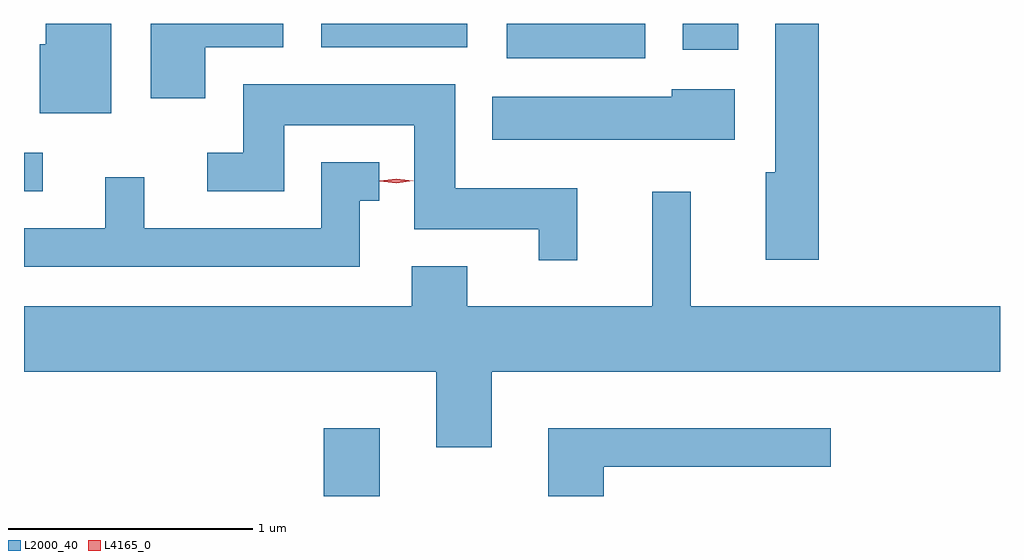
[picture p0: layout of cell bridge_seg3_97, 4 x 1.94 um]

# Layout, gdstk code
import gdstk
lib = gdstk.Library(unit=1e-6, precision=1e-09)
def R(c, l, rs):  # rectangles x0, y0, x1, y1
    for r in rs: c.add(gdstk.rectangle(r[:2], r[2:], *l))
def P(c, l, *ps):  # polygons
    for p in ps: c.add(gdstk.Polygon(p, *l))
L2000_40 = (2000, 40)
L4165_0 = (4165, 0)

bridge_seg3_97 = lib.new_cell('bridge_seg3_97')
R(bridge_seg3_97, L2000_40, [(982.701,1252.046,982.929,1252.324), (981.472,1253.296,981.548,1253.454), (983.451,1253.841,984.019,1253.982), (984.171,1253.876,984.399,1253.982), (982.691,1253.886,983.289,1253.982)])
P(bridge_seg3_97, L2000_40, [(984.729,1253.982),(984.551,1253.982),(984.551,1253.374),(984.511,1253.374),(984.511,1253.016),(984.729,1253.016)],
  [(982.214,1253.886),(982.534,1253.886),(982.534,1253.982),(981.991,1253.982),(981.991,1253.676),(982.214,1253.676)],
  [(981.829,1253.982),(981.561,1253.982),(981.561,1253.899),(981.536,1253.899),(981.536,1253.616),(981.829,1253.616)],
  [(983.739,1253.309),(983.239,1253.309),(983.239,1253.734),(982.371,1253.734),(982.371,1253.454),(982.223,1253.454),(982.223,1253.296),(982.539,1253.296),(982.539,1253.566),(983.071,1253.566),(983.071,1253.141),(983.581,1253.141),(983.581,1253.013),(983.739,1253.013)],
  [(984.384,1253.714),(984.126,1253.714),(984.126,1253.684),(983.391,1253.684),(983.391,1253.506),(984.384,1253.506)],
  [(982.849,1253.256),(982.928,1253.256),(982.928,1253.414),(982.691,1253.414),(982.691,1253.144),(981.964,1253.144),(981.964,1253.353),(981.806,1253.353),(981.806,1253.144),(981.472,1253.144),(981.472,1252.986),(982.849,1252.986)],
  [(983.389,1252.556),(985.472,1252.556),(985.472,1252.824),(984.204,1252.824),(984.204,1253.293),(984.046,1253.293),(984.046,1252.824),(983.289,1252.824),(983.289,1252.989),(983.061,1252.989),(983.061,1252.824),(981.472,1252.824),(981.472,1252.556),(983.161,1252.556),(983.161,1252.246),(983.389,1252.246)],
  [(983.849,1252.166),(984.778,1252.166),(984.778,1252.324),(983.621,1252.324),(983.621,1252.046),(983.849,1252.046)])
P(bridge_seg3_97, L4165_0, [(982.998,1253.328),(982.929,1253.337),(982.929,1253.338),(982.929,1253.338),(982.998,1253.348),(983.068,1253.339),(983.068,1253.338),(983.068,1253.338)])

lib.write_gds('bridge_seg3_97.gds')
